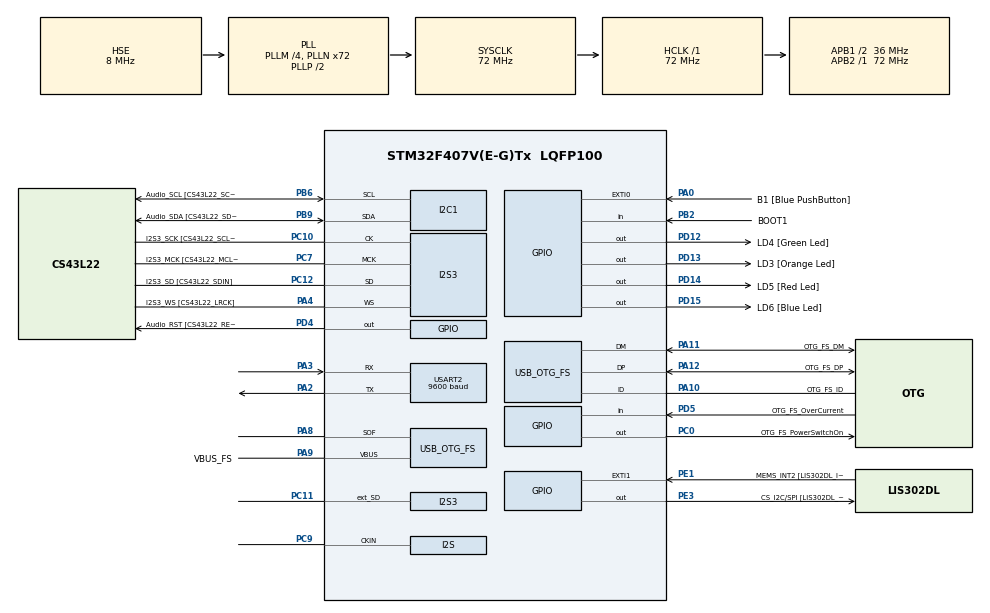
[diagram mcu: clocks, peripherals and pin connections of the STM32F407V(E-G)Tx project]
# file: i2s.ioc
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I2S3.ErrorAudioFreq=0.43 %
I2S3.FullDuplexMode=I2S_FULLDUPLEXMODE_ENABLE
I2S3.Instance=SPI$Index
I2S3.RealAudioFreq=8.035 KHz
I2S3.VirtualMode=I2S_MODE_MASTER
Mcu.Family=STM32F4
Mcu.Name=STM32F407V(E-G)Tx
Mcu.Package=LQFP100
NVIC.PriorityGroup=NVIC_PRIORITYGROUP_0
PA0-WKUP.GPIO_Label=B1 [Blue PushButton]
PA0-WKUP.GPIO_ModeDefaultEXTI=GPIO_MODE_EVT_RISING
PA0-WKUP.GPIO_PuPd=GPIO_NOPULL
PA0-WKUP.Signal=GPXTI0
PA10.GPIO_Label=OTG_FS_ID
PA10.GPIO_Mode=GPIO_MODE_AF_PP
PA10.GPIO_PuPd=GPIO_NOPULL
PA10.GPIO_Speed=GPIO_SPEED_FREQ_LOW
PA10.Mode=OTG/Dual_Role_Device
PA10.Signal=USB_OTG_FS_ID
PA11.GPIO_Label=OTG_FS_DM
PA11.GPIO_Mode=GPIO_MODE_AF_PP
PA11.GPIO_PuPd=GPIO_NOPULL
PA11.GPIO_Speed=GPIO_SPEED_FREQ_LOW
PA11.Mode=OTG/Dual_Role_Device
PA11.Signal=USB_OTG_FS_DM
PA12.GPIO_Label=OTG_FS_DP
PA12.GPIO_Mode=GPIO_MODE_AF_PP
PA12.GPIO_PuPd=GPIO_NOPULL
PA12.GPIO_Speed=GPIO_SPEED_FREQ_LOW
PA12.Mode=OTG/Dual_Role_Device
PA12.Signal=USB_OTG_FS_DP
PA13.GPIO_Label=SWDIO
PA13.Signal=SYS_JTMS-SWDIO
PA14.GPIO_Label=SWCLK
PA14.Signal=SYS_JTCK-SWCLK
PA2.Mode=Asynchronous
PA2.Signal=USART2_TX
PA3.Mode=Asynchronous
PA3.Signal=USART2_RX
PA4.GPIO_Label=I2S3_WS [CS43L22_LRCK]
PA4.GPIO_Mode=GPIO_MODE_AF_PP
PA4.GPIO_PuPd=GPIO_NOPULL
PA4.GPIO_Speed=GPIO_SPEED_FREQ_LOW
PA4.Mode=Full_Duplex_Master
PA4.Signal=I2S3_WS
PA5.GPIO_Label=SPI1_SCK [LIS302DL_SCL/SPC]
PA5.GPIO_Mode=GPIO_MODE_AF_PP
PA5.GPIO_PuPd=GPIO_NOPULL
PA5.GPIO_Speed=GPIO_SPEED_FREQ_LOW
PA5.Signal=SPI1_SCK
PA6.GPIO_Label=SPI1_MISO [LIS302DL_SDO]
PA6.GPIO_Mode=GPIO_MODE_AF_PP
PA6.GPIO_PuPd=GPIO_NOPULL
PA6.GPIO_Speed=GPIO_SPEED_FREQ_LOW
PA6.Signal=SPI1_MISO
PA7.GPIO_Label=SPI1_MOSI [LIS302DL_SDA/SDI/SDO]
PA7.GPIO_Mode=GPIO_MODE_AF_PP
PA7.GPIO_PuPd=GPIO_NOPULL
PA7.GPIO_Speed=GPIO_SPEED_FREQ_LOW
PA7.Signal=SPI1_MOSI
PA8.Mode=Activate_SOF_FS
PA8.Signal=USB_OTG_FS_SOF
PA9.GPIO_Label=VBUS_FS
PA9.GPIO_Mode=GPIO_MODE_INPUT
PA9.GPIO_PuPd=GPIO_NOPULL
PA9.Mode=Activate_VBUS
PA9.Signal=USB_OTG_FS_VBUS
PB10.GPIO_Label=CLK_IN [MP45DT02_CLK]
PB10.GPIO_Mode=GPIO_MODE_AF_PP
PB10.GPIO_PuPd=GPIO_NOPULL
PB10.GPIO_Speed=GPIO_SPEED_FREQ_LOW
PB10.Signal=I2S2_CK
PB2.GPIO_Label=BOOT1
PB2.GPIO_Mode=GPIO_MODE_INPUT
PB2.GPIO_PuPd=GPIO_NOPULL
PB2.Signal=GPIO_Input
PB3.GPIO_Label=SWO
PB3.Signal=SYS_JTDO-SWO
PB6.GPIO_Label=Audio_SCL [CS43L22_SCL]
PB6.GPIO_Mode=GPIO_MODE_AF_OD
PB6.GPIO_PuPd=GPIO_NOPULL
PB6.GPIO_Speed=GPIO_SPEED_FREQ_LOW
PB6.Mode=I2C
PB6.Signal=I2C1_SCL
PB9.GPIO_Label=Audio_SDA [CS43L22_SDA]
PB9.GPIO_Mode=GPIO_MODE_AF_OD
PB9.GPIO_PuPd=GPIO_NOPULL
PB9.GPIO_Speed=GPIO_SPEED_FREQ_LOW
PB9.Mode=I2C
PB9.Signal=I2C1_SDA
PC0.GPIO_Label=OTG_FS_PowerSwitchOn
PC0.GPIO_PuPd=GPIO_NOPULL
PC0.GPIO_Speed=GPIO_SPEED_FREQ_LOW
PC0.PinState=GPIO_PIN_SET
PC0.Signal=GPIO_Output
PC10.GPIO_Label=I2S3_SCK [CS43L22_SCLK]
PC10.GPIO_Mode=GPIO_MODE_AF_PP
PC10.GPIO_PuPd=GPIO_NOPULL
PC10.GPIO_Speed=GPIO_SPEED_FREQ_LOW
PC10.Mode=Full_Duplex_Master
PC10.Signal=I2S3_CK
PC11.Mode=Full_Duplex_Master
PC11.Signal=I2S3_ext_SD
PC12.GPIO_Label=I2S3_SD [CS43L22_SDIN]
PC12.GPIO_Mode=GPIO_MODE_AF_PP
PC12.GPIO_PuPd=GPIO_NOPULL
PC12.GPIO_Speed=GPIO_SPEED_FREQ_LOW
PC12.Mode=Full_Duplex_Master
PC12.Signal=I2S3_SD
PC14-OSC32_IN.GPIO_Label=PC14-OSC32_IN
PC14-OSC32_IN.Signal=RCC_OSC32_IN
PC15-OSC32_OUT.GPIO_Label=PC15-OSC32_OUT
PC15-OSC32_OUT.Signal=RCC_OSC32_OUT
PC3.GPIO_Label=PDM_OUT [MP45DT02_DOUT]
PC3.GPIO_Mode=GPIO_MODE_AF_PP
PC3.GPIO_PuPd=GPIO_NOPULL
PC3.GPIO_Speed=GPIO_SPEED_FREQ_LOW
PC3.Signal=I2S2_SD
PC7.GPIO_Label=I2S3_MCK [CS43L22_MCLK]
PC7.GPIO_Mode=GPIO_MODE_AF_PP
PC7.GPIO_PuPd=GPIO_NOPULL
PC7.GPIO_Speed=GPIO_SPEED_FREQ_LOW
PC7.Mode=Master_Clock_Activated
PC7.Signal=I2S3_MCK
PC9.Mode=Audio_ClockIn
PC9.Signal=I2S_CKIN
PD12.GPIO_Label=LD4 [Green Led]
PD12.GPIO_PuPd=GPIO_NOPULL
PD12.GPIO_Speed=GPIO_SPEED_FREQ_LOW
PD12.Signal=GPIO_Output
PD13.GPIO_Label=LD3 [Orange Led]
PD13.GPIO_PuPd=GPIO_NOPULL
PD13.GPIO_Speed=GPIO_SPEED_FREQ_LOW
PD13.Signal=GPIO_Output
PD14.GPIO_Label=LD5 [Red Led]
PD14.GPIO_PuPd=GPIO_NOPULL
PD14.GPIO_Speed=GPIO_SPEED_FREQ_LOW
PD14.Signal=GPIO_Output
PD15.GPIO_Label=LD6 [Blue Led]
PD15.GPIO_PuPd=GPIO_NOPULL
PD15.GPIO_Speed=GPIO_SPEED_FREQ_LOW
PD15.Signal=GPIO_Output
PD4.GPIO_Label=Audio_RST [CS43L22_RESET]
PD4.GPIO_PuPd=GPIO_NOPULL
PD4.GPIO_Speed=GPIO_SPEED_FREQ_LOW
PD4.Signal=GPIO_Output
PD5.GPIO_Label=OTG_FS_OverCurrent
PD5.GPIO_Mode=GPIO_MODE_INPUT
PD5.GPIO_PuPd=GPIO_NOPULL
PD5.Signal=GPIO_Input
PE1.GPIO_Label=MEMS_INT2 [LIS302DL_INT2]
PE1.GPIO_ModeDefaultEXTI=GPIO_MODE_EVT_RISING
PE1.GPIO_PuPd=GPIO_NOPULL
PE1.Signal=GPXTI1
PE3.GPIO_Label=CS_I2C/SPI [LIS302DL_CS_I2C/SPI]
PE3.GPIO_PuPd=GPIO_NOPULL
PE3.GPIO_Speed=GPIO_SPEED_FREQ_LOW
PE3.Signal=GPIO_Output
PH0-OSC_IN.GPIO_Label=PH0-OSC_IN
PH0-OSC_IN.Mode=HSE-External-Clock-Source
PH0-OSC_IN.Signal=RCC_OSC_IN
PH1-OSC_OUT.GPIO_Label=PH1-OSC_OUT
PH1-OSC_OUT.Mode=HSE-External-Clock-Source
PH1-OSC_OUT.Signal=RCC_OSC_OUT
ProjectManager.HeapSize=0x200
ProjectManager.StackSize=0x400
ProjectManager.TargetToolchain=MDK-ARM V5
RCC.48MHZClocksFreq_Value=48000000
RCC.AHBFreq_Value=72000000
RCC.APB1CLKDivider=RCC_HCLK_DIV2
RCC.APB1Freq_Value=36000000
RCC.APB1TimFreq_Value=72000000
RCC.APB2Freq_Value=72000000
RCC.APB2TimFreq_Value=72000000
RCC.CortexFreq_Value=72000000
RCC.HCLKFreq_Value=72000000
RCC.HSE_VALUE=8000000
RCC.HSI_VALUE=16000000
RCC.LSE_VALUE=32768
RCC.PLLI2SN=216
RCC.PLLI2SR=3
RCC.PLLM=4
RCC.PLLN=72
RCC.PLLQ=3
RCC.SYSCLKFreq_VALUE=72000000
RCC.SYSCLKSource=RCC_SYSCLKSOURCE_PLLCLK
RCC.VCOOutputFreq_Value=144000000
USART2.BaudRate=9600
USART2.VirtualMode=VM_ASYNC
VP_RNG_VS_RNG.Mode=RNG_Activate
board=STM32F4DISCOVERY

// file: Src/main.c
/**
  ******************************************************************************
  * File Name          : main.c
  * Description        : Main program body
  ******************************************************************************
  ** This notice applies to any and all portions of this file
  * that are not between comment pairs USER CODE BEGIN and
  * USER CODE END. Other portions of this file, whether
  * inserted by the user or by software development tools
  * are owned by their respective copyright owners.
  *
  * COPYRIGHT(c) 2017 STMicroelectronics
  *
  * Redistribution and use in source and binary forms, with or without modification,
  * are permitted provided that the following conditions are met:
  *   1. Redistributions of source code must retain the above copyright notice,
  *      this list of conditions and the following disclaimer.
  *   2. Redistributions in binary form must reproduce the above copyright notice,
  *      this list of conditions and the following disclaimer in the documentation
  *      and/or other materials provided with the distribution.
  *   3. Neither the name of STMicroelectronics nor the names of its contributors
  *      may be used to endorse or promote products derived from this software
  *      without specific prior written permission.
  *
  * THIS SOFTWARE IS PROVIDED BY THE COPYRIGHT HOLDERS AND CONTRIBUTORS "AS IS"
  * AND ANY EXPRESS OR IMPLIED WARRANTIES, INCLUDING, BUT NOT LIMITED TO, THE
  * IMPLIED WARRANTIES OF MERCHANTABILITY AND FITNESS FOR A PARTICULAR PURPOSE ARE
  * DISCLAIMED. IN NO EVENT SHALL THE COPYRIGHT HOLDER OR CONTRIBUTORS BE LIABLE
  * FOR ANY DIRECT, INDIRECT, INCIDENTAL, SPECIAL, EXEMPLARY, OR CONSEQUENTIAL
  * DAMAGES (INCLUDING, BUT NOT LIMITED TO, PROCUREMENT OF SUBSTITUTE GOODS OR
  * SERVICES; LOSS OF USE, DATA, OR PROFITS; OR BUSINESS INTERRUPTION) HOWEVER
  * CAUSED AND ON ANY THEORY OF LIABILITY, WHETHER IN CONTRACT, STRICT LIABILITY,
  * OR TORT (INCLUDING NEGLIGENCE OR OTHERWISE) ARISING IN ANY WAY OUT OF THE USE
  * OF THIS SOFTWARE, EVEN IF ADVISED OF THE POSSIBILITY OF SUCH DAMAGE.
  *
  ******************************************************************************
  */
#include "main.h"
#include "stm32f4xx_hal.h"
#include "test_wave.h"
#include "arm_math.h"
#include "arm_const_structs.h"
#include "stdio.h"

/* USER CODE BEGIN Includes */
#ifdef __GNUC___

		#define PUTCHAR_PROTOTYPE int __io_putchar(int ch)
#else
		#define PUTCHAR_PROTOTYPE int fputc(int ch,FILE *f)
#endif

/* USER CODE END Includes */

I2C_HandleTypeDef hi2c1;

I2S_HandleTypeDef hi2s3;

RNG_HandleTypeDef hrng;

UART_HandleTypeDef huart2;

/* USER CODE BEGIN PV */
/* Private variables ---------------------------------------------------------*/
				PUTCHAR_PROTOTYPE
{
	HAL_UART_Transmit(&huart2,(uint8_t *)&ch, 1,0xFFFF);

	return 0;
}

#define __FPU_PRESENT  1U
#define fft_max_double 4096 //max = 16,226
#define fft_max_float 2*fft_max_double //max = 32,452
//#define fft_size fft_max_float
#define SAMPLES 2048
#define FFT_SIZE SAMPLES/2
#define CFFT_LENGTH	arm_cfft_sR_f32_len1024
extern float32_t wave_Input[SAMPLES];
extern float32_t wave_3_440Hz_44100[SAMPLES];
float32_t wave_buffer[SAMPLES];
float32_t fft_Output[FFT_SIZE];

float32_t random;

uint32_t fft_Size = FFT_SIZE;
uint32_t ifft_Flag = 0;
uint32_t doBitReverse = 1;

uint32_t refIndex = 213, testIndex = 213;

float32_t fft_pcm[FFT_SIZE];
float32_t fft_pdm[FFT_SIZE];

float32_t max_freq;
float32_t MaxValue;

uint64_t counter=0;

static arm_rfft_fast_instance_f32 s;

/* USER CODE END PV */

void SystemClock_Config(void);
static void MX_GPIO_Init(void);
static void MX_I2C1_Init(void);
static void MX_I2S3_Init(void);
static void MX_USART2_UART_Init(void);
static void MX_RNG_Init(void);
static void MX_USB_OTG_FS_USB_Init(void);

/* USER CODE BEGIN PFP */
/* Private function prototypes -----------------------------------------------*/
uint32_t fft_calc(uint32_t sample_rate);
/* USER CODE END PFP */

int main(void)
{

  /* USER CODE BEGIN 1 */
	arm_status status;

	status = ARM_MATH_SUCCESS;
  /* USER CODE END 1 */

  /* MCU Configuration----------------------------------------------------------*/

  /* Reset of all peripherals, Initializes the Flash interface and the Systick. */
  HAL_Init();

  /* Configure the system clock */
  SystemClock_Config();

  /* Initialize all configured peripherals */
  MX_GPIO_Init();
  MX_I2C1_Init();
  MX_I2S3_Init();
  MX_USART2_UART_Init();
  MX_RNG_Init();
  MX_USB_OTG_FS_USB_Init();

//  /* USER CODE BEGIN 2 */
//	if(	BSP_AUDIO_IN_Init(44100,16,1)==AUDIO_OK){
//		HAL_GPIO_WritePin(GPIOD,LED3_PIN,GPIO_PIN_SET);
//
//	}
//	else{
//		Error_Handler();
//	}

//		memcpy(&wave_buffer,&wave_Input,2048);
//		arm_cfft_radix4_init_f32(&S,FFT_SIZE,0,1);
//		arm_cfft_radix4_f32(&S, wave_buffer);
//		arm_cmplx_mag_f32(wave_buffer,fft_Output,FFT_SIZE);
//		arm_max_f32(fft_Output,FFT_SIZE,&MaxValue,&testIndex);

		//printf("\n\r");
		//arm_cfft_f32(&CFFT_LENGTH,wave_buffer,ifft_Flag,doBitReverse);

	while (1)
  {

//	if(BSP_AUDIO_IN_Record((uint16_t *)wave_Input,FFT_SIZE)==AUDIO_OK){
//		//HAL_GPIO_WritePin(GPIOD,LED4_PIN,GPIO_PIN_SET);
//		HAL_GPIO_TogglePin(GPIOD,LED4_PIN);
//	}
//	else{
//		Error_Handler();
//	}

//	if(BSP_AUDIO_IN_PDMToPCM((uint16_t *)fft_pdm,(uint16_t *)fft_pcm)==AUDIO_OK){
//		//HAL_GPIO_WritePin(GPIOD,LED5_PIN,GPIO_PIN_SET);
//		HAL_GPIO_TogglePin(GPIOD,LED5_PIN);
//	}
//	else {
//		Error_Handler();
//	}

		counter++;
		uint16_t counter_flag=0;

	//ifft_Flag=0; doBitReverse=1;
//		if(counter%2==0){
//			memcpy(&wave_buffer,&wave_Input,SAMPLES);
//			arm_cfft_radix4_init_f32(&S,FFT_SIZE,0,1);
//			arm_cfft_radix4_f32(&S, wave_buffer);
//			arm_cmplx_mag_f32(wave_buffer,fft_Output,FFT_SIZE);
//			arm_max_f32(fft_Output,FFT_SIZE,&MaxValue,&testIndex);
////			arm_cmplx_mag_f32(wave_buffer,fft_Output,fft_Size);
////		  arm_max_f32(fft_Output,fft_Size,&MaxValue,&testIndex);
//			max_freq=(48800/1024)*testIndex;
//			counter_flag=1;
//		}
//		else{
//			memcpy(&wave_buffer,&wave_3_440Hz_44100,SAMPLES);
//			arm_cfft_radix4_init_f32(&S,FFT_SIZE,0,1);
//			arm_cfft_radix4_f32(&S, wave_buffer);
//			arm_cmplx_mag_f32(wave_buffer,fft_Output,FFT_SIZE);
//			arm_max_f32(fft_Output,FFT_SIZE,&MaxValue,&testIndex);
////			arm_cmplx_mag_f32(wave_buffer,fft_Output,fft_Size);
////		  arm_max_f32(fft_Output,fft_Size,&MaxValue,&testIndex);
//			max_freq=(44100/1024)*testIndex;
//			counter_flag=0;

//	}

//	if(counter%2==0)
//		{
//			for(int j=0;j<FFT_SIZE;j++){

//				if(j%2==0){
//					random=(float32_t)HAL_RNG_GetRandomNumber(&hrng)/1000000000;
//					wave_buffer[j]=random;
//				}
//					else
//					wave_buffer[j]=0;
//
//			}
//		}
//	else
//		memcpy(&wave_Input,&wave_buffer,2048);
	int check=0;
	if(testIndex==213)
		check=1;
	else
		check=0;
//	printf("bitRevrs=%d bitRevrsFctr=%d fftLen=%d ifftFlag=%d oneBYfftLen=%f BitRevTable=%d Twiddle=%f twidCoeFModif=%d "
//				,S.bitReverseFlag,S.bitRevFactor,S.fftLen,S.ifftFlag,S.onebyfftLen,(uint16_t )S.pBitRevTable,*S.pTwiddle,S.twidCoefModifier);
	//printf("true=%d",check,ifft_Flag,doBitReverse,counter_flag);
//	printf("max_freq=%d max_value=%f test_Index=%d ref_Index (@10kHz)=%d \n\r"
//					,fft_calc(48800), MaxValue,testIndex,refIndex);
//	testIndex=0;
//	MaxValue=0;
//	max_freq=0;
	fft_calc(48800);
	int i=0,k=0;
//	for(int j=0;j<55;j++){
//	for(;i<25+k;i++){
//		printf("%f,",wave_Input[i]);
//	}
//	k=i;
//	printf("\n\r");
//}

//	if(testIndex!=refIndex)
//		Error_Handler();
//
//	//BSP_AUDIO_IN_Init();
//  /* USER CODE END 2 */

//  /* Infinite loop */
//  /* USER CODE BEGIN WHILE */
//
//  /* USER CODE END WHILE */
////	for(int i=0;i<FFT_SIZE;i++)
////		wave_Input[i]=HAL_RNG_GetRandomNumber(&hrng);
//  /* USER CODE BEGIN 3 */

//  }
	//HAL_NVIC_SystemReset();
  /* USER CODE END 3 */

}
}
/** System Clock Configuration
*/
void SystemClock_Config(void)
{

  RCC_OscInitTypeDef RCC_OscInitStruct;
  RCC_ClkInitTypeDef RCC_ClkInitStruct;
  RCC_PeriphCLKInitTypeDef PeriphClkInitStruct;

    /**Configure the main internal regulator output voltage
    */
  __HAL_RCC_PWR_CLK_ENABLE();

  __HAL_PWR_VOLTAGESCALING_CONFIG(PWR_REGULATOR_VOLTAGE_SCALE1);

    /**Initializes the CPU, AHB and APB busses clocks
    */
  RCC_OscInitStruct.OscillatorType = RCC_OSCILLATORTYPE_HSE;
  RCC_OscInitStruct.HSEState = RCC_HSE_BYPASS;
  RCC_OscInitStruct.PLL.PLLState = RCC_PLL_ON;
  RCC_OscInitStruct.PLL.PLLSource = RCC_PLLSOURCE_HSE;
  RCC_OscInitStruct.PLL.PLLM = 4;
  RCC_OscInitStruct.PLL.PLLN = 72;
  RCC_OscInitStruct.PLL.PLLP = RCC_PLLP_DIV2;
  RCC_OscInitStruct.PLL.PLLQ = 3;
  if (HAL_RCC_OscConfig(&RCC_OscInitStruct) != HAL_OK)
  {
    _Error_Handler(__FILE__, __LINE__);
  }

    /**Initializes the CPU, AHB and APB busses clocks
    */
  RCC_ClkInitStruct.ClockType = RCC_CLOCKTYPE_HCLK|RCC_CLOCKTYPE_SYSCLK
                              |RCC_CLOCKTYPE_PCLK1|RCC_CLOCKTYPE_PCLK2;
  RCC_ClkInitStruct.SYSCLKSource = RCC_SYSCLKSOURCE_PLLCLK;
  RCC_ClkInitStruct.AHBCLKDivider = RCC_SYSCLK_DIV1;
  RCC_ClkInitStruct.APB1CLKDivider = RCC_HCLK_DIV2;
  RCC_ClkInitStruct.APB2CLKDivider = RCC_HCLK_DIV1;

  if (HAL_RCC_ClockConfig(&RCC_ClkInitStruct, FLASH_LATENCY_2) != HAL_OK)
  {
    _Error_Handler(__FILE__, __LINE__);
  }

  PeriphClkInitStruct.PeriphClockSelection = RCC_PERIPHCLK_I2S;
  PeriphClkInitStruct.PLLI2S.PLLI2SN = 216;
  PeriphClkInitStruct.PLLI2S.PLLI2SR = 3;
  if (HAL_RCCEx_PeriphCLKConfig(&PeriphClkInitStruct) != HAL_OK)
  {
    _Error_Handler(__FILE__, __LINE__);
  }

    /**Configure the Systick interrupt time
    */
  HAL_SYSTICK_Config(HAL_RCC_GetHCLKFreq()/1000);

    /**Configure the Systick
    */
  HAL_SYSTICK_CLKSourceConfig(SYSTICK_CLKSOURCE_HCLK);

  /* SysTick_IRQn interrupt configuration */
  HAL_NVIC_SetPriority(SysTick_IRQn, 0, 0);
}

/* I2C1 init function */
static void MX_I2C1_Init(void)
{

  hi2c1.Instance = I2C1;
  hi2c1.Init.ClockSpeed = 100000;
  hi2c1.Init.DutyCycle = I2C_DUTYCYCLE_2;
  hi2c1.Init.OwnAddress1 = 0;
  hi2c1.Init.AddressingMode = I2C_ADDRESSINGMODE_7BIT;
  hi2c1.Init.DualAddressMode = I2C_DUALADDRESS_DISABLE;
  hi2c1.Init.OwnAddress2 = 0;
  hi2c1.Init.GeneralCallMode = I2C_GENERALCALL_DISABLE;
  hi2c1.Init.NoStretchMode = I2C_NOSTRETCH_DISABLE;
  if (HAL_I2C_Init(&hi2c1) != HAL_OK)
  {
    _Error_Handler(__FILE__, __LINE__);
  }

}

/* I2S3 init function */
static void MX_I2S3_Init(void)
{

  hi2s3.Instance = SPI3;
  hi2s3.Init.Mode = I2S_MODE_MASTER_TX;
  hi2s3.Init.Standard = I2S_STANDARD_PHILIPS;
  hi2s3.Init.DataFormat = I2S_DATAFORMAT_16B;
  hi2s3.Init.MCLKOutput = I2S_MCLKOUTPUT_ENABLE;
  hi2s3.Init.AudioFreq = I2S_AUDIOFREQ_8K;
  hi2s3.Init.CPOL = I2S_CPOL_LOW;
  hi2s3.Init.ClockSource = I2S_CLOCK_PLL;
  hi2s3.Init.FullDuplexMode = I2S_FULLDUPLEXMODE_ENABLE;
  if (HAL_I2S_Init(&hi2s3) != HAL_OK)
  {
    _Error_Handler(__FILE__, __LINE__);
  }

}

/* RNG init function */
static void MX_RNG_Init(void)
{

  hrng.Instance = RNG;
  if (HAL_RNG_Init(&hrng) != HAL_OK)
  {
    _Error_Handler(__FILE__, __LINE__);
  }

}

/* USART2 init function */
static void MX_USART2_UART_Init(void)
{

  huart2.Instance = USART2;
  huart2.Init.BaudRate = 9600;
  huart2.Init.WordLength = UART_WORDLENGTH_8B;
  huart2.Init.StopBits = UART_STOPBITS_1;
  huart2.Init.Parity = UART_PARITY_NONE;
  huart2.Init.Mode = UART_MODE_TX_RX;
  huart2.Init.HwFlowCtl = UART_HWCONTROL_NONE;
  huart2.Init.OverSampling = UART_OVERSAMPLING_16;
  if (HAL_UART_Init(&huart2) != HAL_OK)
  {
    _Error_Handler(__FILE__, __LINE__);
  }

}

void HAL_UART_TxCpltCallback(UART_HandleTypeDef *huart){
	HAL_GPIO_WritePin(GPIOD,LED4_PIN,GPIO_PIN_SET);

}
/* USB_OTG_FS init function */
static void MX_USB_OTG_FS_USB_Init(void)
{

}

/** Configure pins as
        * Analog
        * Input
        * Output
        * EVENT_OUT
        * EXTI
     PC3   ------> I2S2_SD
     PA5   ------> SPI1_SCK
     PA6   ------> SPI1_MISO
     PA7   ------> SPI1_MOSI
     PB10   ------> I2S2_CK
     PC9   ------> I2S_CKIN
     PA8   ------> USB_OTG_FS_SOF
     PA9   ------> USB_OTG_FS_VBUS
     PA10   ------> USB_OTG_FS_ID
     PA11   ------> USB_OTG_FS_DM
     PA12   ------> USB_OTG_FS_DP
*/
static void MX_GPIO_Init(void)
{

  GPIO_InitTypeDef GPIO_InitStruct;

  /* GPIO Ports Clock Enable */
  __HAL_RCC_GPIOE_CLK_ENABLE();
  __HAL_RCC_GPIOC_CLK_ENABLE();
  __HAL_RCC_GPIOH_CLK_ENABLE();
  __HAL_RCC_GPIOA_CLK_ENABLE();
  __HAL_RCC_GPIOB_CLK_ENABLE();
  __HAL_RCC_GPIOD_CLK_ENABLE();

  /*Configure GPIO pin Output Level */
  HAL_GPIO_WritePin(CS_I2C_SPI_GPIO_Port, CS_I2C_SPI_Pin, GPIO_PIN_RESET);

  /*Configure GPIO pin Output Level */
  HAL_GPIO_WritePin(OTG_FS_PowerSwitchOn_GPIO_Port, OTG_FS_PowerSwitchOn_Pin, GPIO_PIN_SET);

  /*Configure GPIO pin Output Level */
  HAL_GPIO_WritePin(GPIOD, LD4_Pin|LD3_Pin|LD5_Pin|LD6_Pin
                          |Audio_RST_Pin, GPIO_PIN_RESET);

  /*Configure GPIO pin : CS_I2C_SPI_Pin */
  GPIO_InitStruct.Pin = CS_I2C_SPI_Pin;
  GPIO_InitStruct.Mode = GPIO_MODE_OUTPUT_PP;
  GPIO_InitStruct.Pull = GPIO_NOPULL;
  GPIO_InitStruct.Speed = GPIO_SPEED_FREQ_LOW;
  HAL_GPIO_Init(CS_I2C_SPI_GPIO_Port, &GPIO_InitStruct);

  /*Configure GPIO pin : OTG_FS_PowerSwitchOn_Pin */
  GPIO_InitStruct.Pin = OTG_FS_PowerSwitchOn_Pin;
  GPIO_InitStruct.Mode = GPIO_MODE_OUTPUT_PP;
  GPIO_InitStruct.Pull = GPIO_NOPULL;
  GPIO_InitStruct.Speed = GPIO_SPEED_FREQ_LOW;
  HAL_GPIO_Init(OTG_FS_PowerSwitchOn_GPIO_Port, &GPIO_InitStruct);

  /*Configure GPIO pin : PDM_OUT_Pin */
  GPIO_InitStruct.Pin = PDM_OUT_Pin;
  GPIO_InitStruct.Mode = GPIO_MODE_AF_PP;
  GPIO_InitStruct.Pull = GPIO_NOPULL;
  GPIO_InitStruct.Speed = GPIO_SPEED_FREQ_LOW;
  GPIO_InitStruct.Alternate = GPIO_AF5_SPI2;
  HAL_GPIO_Init(PDM_OUT_GPIO_Port, &GPIO_InitStruct);

  /*Configure GPIO pin : B1_Pin */
  GPIO_InitStruct.Pin = B1_Pin;
  GPIO_InitStruct.Mode = GPIO_MODE_EVT_RISING;
  GPIO_InitStruct.Pull = GPIO_NOPULL;
  HAL_GPIO_Init(B1_GPIO_Port, &GPIO_InitStruct);

  /*Configure GPIO pins : SPI1_SCK_Pin SPI1_MISO_Pin SPI1_MOSI_Pin */
  GPIO_InitStruct.Pin = SPI1_SCK_Pin|SPI1_MISO_Pin|SPI1_MOSI_Pin;
  GPIO_InitStruct.Mode = GPIO_MODE_AF_PP;
  GPIO_InitStruct.Pull = GPIO_NOPULL;
  GPIO_InitStruct.Speed = GPIO_SPEED_FREQ_LOW;
  GPIO_InitStruct.Alternate = GPIO_AF5_SPI1;
  HAL_GPIO_Init(GPIOA, &GPIO_InitStruct);

  /*Configure GPIO pin : BOOT1_Pin */
  GPIO_InitStruct.Pin = BOOT1_Pin;
  GPIO_InitStruct.Mode = GPIO_MODE_INPUT;
  GPIO_InitStruct.Pull = GPIO_NOPULL;
  HAL_GPIO_Init(BOOT1_GPIO_Port, &GPIO_InitStruct);

  /*Configure GPIO pin : CLK_IN_Pin */
  GPIO_InitStruct.Pin = CLK_IN_Pin;
  GPIO_InitStruct.Mode = GPIO_MODE_AF_PP;
  GPIO_InitStruct.Pull = GPIO_NOPULL;
  GPIO_InitStruct.Speed = GPIO_SPEED_FREQ_LOW;
  GPIO_InitStruct.Alternate = GPIO_AF5_SPI2;
  HAL_GPIO_Init(CLK_IN_GPIO_Port, &GPIO_InitStruct);

  /*Configure GPIO pins : LD4_Pin LD3_Pin LD5_Pin LD6_Pin
                           Audio_RST_Pin */
  GPIO_InitStruct.Pin = LD4_Pin|LD3_Pin|LD5_Pin|LD6_Pin
                          |Audio_RST_Pin;
  GPIO_InitStruct.Mode = GPIO_MODE_OUTPUT_PP;
  GPIO_InitStruct.Pull = GPIO_NOPULL;
  GPIO_InitStruct.Speed = GPIO_SPEED_FREQ_LOW;
  HAL_GPIO_Init(GPIOD, &GPIO_InitStruct);

  /*Configure GPIO pin : PC9 */
  GPIO_InitStruct.Pin = GPIO_PIN_9;
  GPIO_InitStruct.Mode = GPIO_MODE_AF_PP;
  GPIO_InitStruct.Pull = GPIO_NOPULL;
  GPIO_InitStruct.Speed = GPIO_SPEED_FREQ_LOW;
  GPIO_InitStruct.Alternate = GPIO_AF5_SPI1;
  HAL_GPIO_Init(GPIOC, &GPIO_InitStruct);

  /*Configure GPIO pin : PA8 */
  GPIO_InitStruct.Pin = GPIO_PIN_8;
  GPIO_InitStruct.Mode = GPIO_MODE_AF_PP;
  GPIO_InitStruct.Pull = GPIO_NOPULL;
  GPIO_InitStruct.Speed = GPIO_SPEED_FREQ_VERY_HIGH;
  GPIO_InitStruct.Alternate = GPIO_AF10_OTG_FS;
  HAL_GPIO_Init(GPIOA, &GPIO_InitStruct);

  /*Configure GPIO pin : VBUS_FS_Pin */
  GPIO_InitStruct.Pin = VBUS_FS_Pin;
  GPIO_InitStruct.Mode = GPIO_MODE_INPUT;
  GPIO_InitStruct.Pull = GPIO_NOPULL;
  HAL_GPIO_Init(VBUS_FS_GPIO_Port, &GPIO_InitStruct);

  /*Configure GPIO pins : OTG_FS_ID_Pin OTG_FS_DM_Pin OTG_FS_DP_Pin */
  GPIO_InitStruct.Pin = OTG_FS_ID_Pin|OTG_FS_DM_Pin|OTG_FS_DP_Pin;
  GPIO_InitStruct.Mode = GPIO_MODE_AF_PP;
  GPIO_InitStruct.Pull = GPIO_NOPULL;
  GPIO_InitStruct.Speed = GPIO_SPEED_FREQ_LOW;
  GPIO_InitStruct.Alternate = GPIO_AF10_OTG_FS;
  HAL_GPIO_Init(GPIOA, &GPIO_InitStruct);

  /*Configure GPIO pin : OTG_FS_OverCurrent_Pin */
  GPIO_InitStruct.Pin = OTG_FS_OverCurrent_Pin;
  GPIO_InitStruct.Mode = GPIO_MODE_INPUT;
  GPIO_InitStruct.Pull = GPIO_NOPULL;
  HAL_GPIO_Init(OTG_FS_OverCurrent_GPIO_Port, &GPIO_InitStruct);

  /*Configure GPIO pin : MEMS_INT2_Pin */
  GPIO_InitStruct.Pin = MEMS_INT2_Pin;
  GPIO_InitStruct.Mode = GPIO_MODE_EVT_RISING;
  GPIO_InitStruct.Pull = GPIO_NOPULL;
  HAL_GPIO_Init(MEMS_INT2_GPIO_Port, &GPIO_InitStruct);

}

/* USER CODE BEGIN 4 */
uint32_t fft_calc(uint32_t sample_rate){

		arm_cfft_radix4_instance_f32 S;
		memcpy(wave_buffer,wave_Input,2048);

		arm_cfft_radix4_init_f32(&S,FFT_SIZE,0,1);
		arm_cfft_radix4_f32(&S, wave_buffer);
		arm_cmplx_mag_f32(wave_buffer,fft_Output,FFT_SIZE);
		arm_max_f32(fft_Output,FFT_SIZE,&MaxValue,&testIndex);
				for(int i=0;i<15;i++){
			printf("%f ",wave_buffer[i]);
		}
		printf("\n\r");
		max_freq=(sample_rate/1024)*testIndex;

	return max_freq;

}
/* USER CODE END 4 */

void _Error_Handler(char * file, int line)
{
  /* USER CODE BEGIN Error_Handler_Debug */
  /* User can add his own implementation to report the HAL error return state */
  while(1)
  {
		HAL_GPIO_TogglePin(GPIOD,LED6_PIN);
		HAL_Delay(500);
  }
  /* USER CODE END Error_Handler_Debug */
}

/************************ (C) COPYRIGHT STMicroelectronics *****END OF FILE****/
